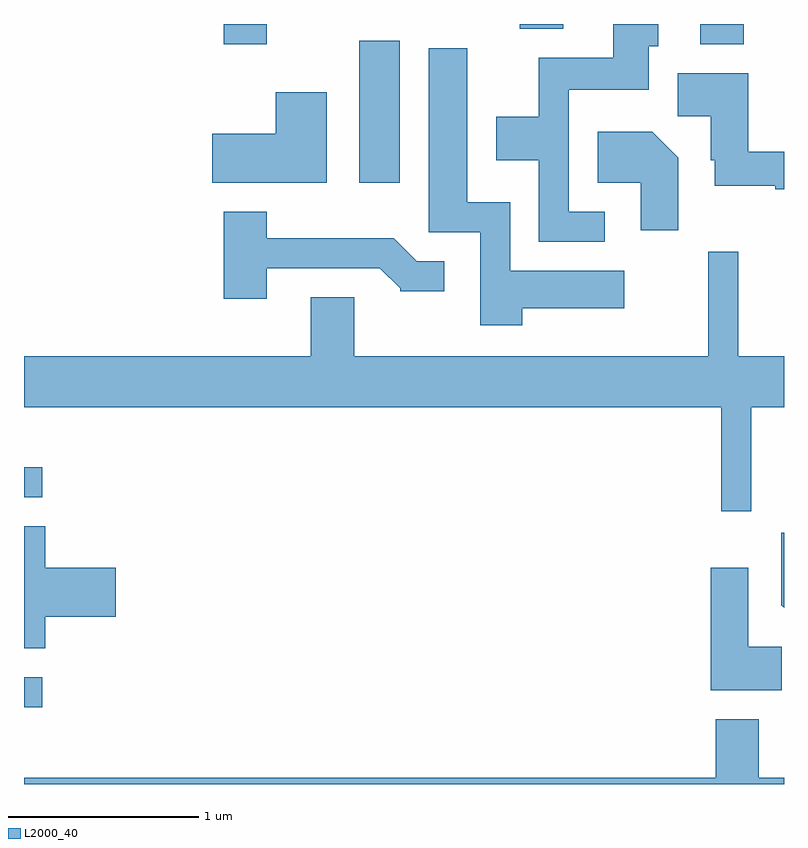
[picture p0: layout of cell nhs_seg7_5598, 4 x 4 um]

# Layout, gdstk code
import gdstk
lib = gdstk.Library(unit=1e-6, precision=1e-09)
def R(c, l, rs):  # rectangles x0, y0, x1, y1
    for r in rs: c.add(gdstk.rectangle(r[:2], r[2:], *l))
def P(c, l, *ps):  # polygons
    for p in ps: c.add(gdstk.Polygon(p, *l))
L2000_40 = (2000, 40)

nhs_seg7_5598 = lib.new_cell('nhs_seg7_5598')
R(nhs_seg7_5598, L2000_40, [(355.611,1792.656,355.708,1792.814), (355.611,1793.761,355.708,1793.919), (357.376,1795.416,357.589,1796.164), (356.661,1796.146,356.889,1796.252), (359.171,1796.146,359.399,1796.252), (358.221,1796.226,358.449,1796.252)])
P(nhs_seg7_5598, L2000_40, [(358.668,1795.264),(358.479,1795.264),(358.479,1795.906),(358.899,1795.906),(358.899,1796.136),(358.948,1796.136),(358.948,1796.252),(358.711,1796.252),(358.711,1796.074),(358.321,1796.074),(358.321,1795.764),(358.096,1795.764),(358.096,1795.536),(358.321,1795.536),(358.321,1795.106),(358.668,1795.106)],
  [(358.234,1794.756),(358.769,1794.756),(358.769,1794.954),(358.169,1794.954),(358.169,1795.314),(357.944,1795.314),(357.944,1796.124),(357.741,1796.124),(357.741,1795.156),(358.011,1795.156),(358.011,1794.666),(358.234,1794.666)],
  [(359.611,1795.579),(359.424,1795.579),(359.424,1795.994),(359.051,1795.994),(359.051,1795.766),(359.226,1795.766),(359.226,1795.536),(359.246,1795.536),(359.246,1795.401),(359.566,1795.401),(359.566,1795.381),(359.611,1795.381)],
  [(357.204,1795.894),(356.936,1795.894),(356.936,1795.674),(356.601,1795.674),(356.601,1795.416),(357.204,1795.416)],
  [(359.054,1795.547),(358.917,1795.684),(358.631,1795.684),(358.631,1795.416),(358.856,1795.416),(358.856,1795.166),(359.054,1795.166)],
  [(356.889,1794.966),(357.484,1794.966),(357.59,1794.86),(357.59,1794.846),(357.823,1794.846),(357.823,1795.004),(357.677,1795.004),(357.557,1795.124),(356.889,1795.124),(356.889,1795.264),(356.661,1795.264),(356.661,1794.806),(356.889,1794.806)],
  [(359.439,1794.236),(359.611,1794.236),(359.611,1794.504),(359.369,1794.504),(359.369,1795.053),(359.211,1795.053),(359.211,1794.504),(357.349,1794.504),(357.349,1794.814),(357.121,1794.814),(357.121,1794.504),(355.611,1794.504),(355.611,1794.236),(359.281,1794.236),(359.281,1793.688),(359.439,1793.688)],
  [(355.724,1793.131),(356.094,1793.131),(356.094,1793.389),(355.724,1793.389),(355.724,1793.609),(355.611,1793.609),(355.611,1792.966),(355.724,1792.966)],
  [(359.611,1793.574),(359.596,1793.574),(359.596,1793.194),(359.611,1793.179)],
  [(359.599,1792.974),(359.424,1792.974),(359.424,1793.389),(359.226,1793.389),(359.226,1792.746),(359.599,1792.746)],
  [(359.611,1792.284),(359.479,1792.284),(359.479,1792.594),(359.251,1792.594),(359.251,1792.284),(355.611,1792.284),(355.611,1792.252),(359.611,1792.252)])

lib.write_gds('nhs_seg7_5598.gds')
